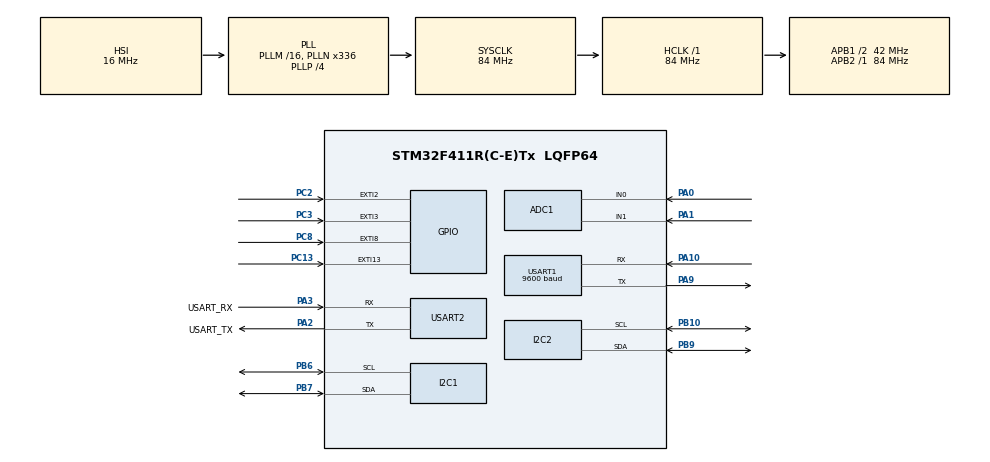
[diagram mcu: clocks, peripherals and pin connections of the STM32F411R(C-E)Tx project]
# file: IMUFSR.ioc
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ADC1.Channel-0\#ChannelRegularConversion=ADC_CHANNEL_0
ADC1.Channel-1\#ChannelRegularConversion=ADC_CHANNEL_1
ADC1.ContinuousConvMode=ENABLE
ADC1.EOCSelection=ADC_EOC_SEQ_CONV
ADC1.NbrOfConversion=2
ADC1.NbrOfConversionFlag=1
ADC1.Rank-0\#ChannelRegularConversion=1
ADC1.Rank-1\#ChannelRegularConversion=2
ADC1.SamplingTime-0\#ChannelRegularConversion=ADC_SAMPLETIME_3CYCLES
ADC1.SamplingTime-1\#ChannelRegularConversion=ADC_SAMPLETIME_3CYCLES
ADC1.ScanConvMode=ENABLE
ADC1.master=1
Mcu.Family=STM32F4
Mcu.Name=STM32F411R(C-E)Tx
Mcu.Package=LQFP64
NVIC.EXTI15_10_IRQn=true\:0\:0\:false\:false\:true\:true\:true\:true
NVIC.EXTI2_IRQn=true\:0\:0\:false\:false\:true\:true\:true\:true
NVIC.EXTI3_IRQn=true\:0\:0\:false\:false\:true\:true\:true\:true
NVIC.PriorityGroup=NVIC_PRIORITYGROUP_0
PA0-WKUP.Signal=ADCx_IN0
PA1.Signal=ADCx_IN1
PA10.Mode=Asynchronous
PA10.Signal=USART1_RX
PA13.GPIO_Label=TMS
PA13.Mode=Serial_Wire
PA13.Signal=SYS_JTMS-SWDIO
PA14.GPIO_Label=TCK
PA14.Mode=Serial_Wire
PA14.Signal=SYS_JTCK-SWCLK
PA2.GPIO_Label=USART_TX
PA2.Mode=Asynchronous
PA2.Signal=USART2_TX
PA3.GPIO_Label=USART_RX
PA3.Mode=Asynchronous
PA3.Signal=USART2_RX
PA9.Mode=Asynchronous
PA9.Signal=USART1_TX
PB10.Mode=I2C
PB10.Signal=I2C2_SCL
PB3.GPIO_Label=SWO
PB3.Signal=SYS_JTDO-SWO
PB6.Mode=I2C
PB6.Signal=I2C1_SCL
PB7.Mode=I2C
PB7.Signal=I2C1_SDA
PB9.Mode=I2C
PB9.Signal=I2C2_SDA
PC13-ANTI_TAMP.GPIO_ModeDefaultEXTI=GPIO_MODE_IT_RISING
PC13-ANTI_TAMP.GPIO_PuPd=GPIO_NOPULL
PC13-ANTI_TAMP.Signal=GPXTI13
PC14-OSC32_IN.Mode=LSE-External-Oscillator
PC14-OSC32_IN.Signal=RCC_OSC32_IN
PC15-OSC32_OUT.Mode=LSE-External-Oscillator
PC15-OSC32_OUT.Signal=RCC_OSC32_OUT
PC2.Signal=GPXTI2
PC3.Signal=GPXTI3
PC8.Signal=GPXTI8
PH0\ -\ OSC_IN.Mode=HSE-External-Clock-Source
PH0\ -\ OSC_IN.Signal=RCC_OSC_IN
PH1\ -\ OSC_OUT.Mode=HSE-External-Clock-Source
PH1\ -\ OSC_OUT.Signal=RCC_OSC_OUT
ProjectManager.HeapSize=0x200
ProjectManager.StackSize=0x400
ProjectManager.TargetToolchain=STM32CubeIDE
RCC.48MHZClocksFreq_Value=84000000
RCC.AHBFreq_Value=84000000
RCC.APB1CLKDivider=RCC_HCLK_DIV2
RCC.APB1Freq_Value=42000000
RCC.APB1TimFreq_Value=84000000
RCC.APB2Freq_Value=84000000
RCC.APB2TimFreq_Value=84000000
RCC.CortexFreq_Value=84000000
RCC.FLatency-AdvancedSettings=FLASH_LATENCY_2
RCC.HCLKFreq_Value=84000000
RCC.HSE_VALUE=8000000
RCC.HSI_VALUE=16000000
RCC.PLLN=336
RCC.PLLP=RCC_PLLP_DIV4
RCC.SYSCLKFreq_VALUE=84000000
RCC.SYSCLKSource=RCC_SYSCLKSOURCE_PLLCLK
RCC.VCOOutputFreq_Value=336000000
SH.ADCx_IN0.0=ADC1_IN0,IN0
SH.ADCx_IN1.0=ADC1_IN1,IN1
USART1.BaudRate=9600
USART1.VirtualMode=VM_ASYNC
USART2.VirtualMode=VM_ASYNC
board=NUCLEO-F411RE

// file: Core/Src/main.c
/* USER CODE BEGIN Header */
/**
  ******************************************************************************
  * @file           : main.c
  * @brief          : Main program body
  ******************************************************************************
  * @attention
  *
  * Copyright (c) 2024 STMicroelectronics.
  * All rights reserved.
  *
  * This software is licensed under terms that can be found in the LICENSE file
  * in the root directory of this software component.
  * If no LICENSE file comes with this software, it is provided AS-IS.
  *
  ******************************************************************************
  */
/* USER CODE END Header */
#include "main.h"

/* USER CODE BEGIN Includes */
#include "stdio.h"
#include "bno055.h"
#include "liquidcrystal_i2c.h"
/* USER CODE END Includes */

/* USER CODE BEGIN PD */
#define NUM_READINGS 3

#define LEFT_CLICK_UPPER_THRESHOLD 600
#define LEFT_CLICK_LOWER_THRESHOLD 200

#define RIGHT_CLICK_UPPER_THRESHOLD 600
#define RIGHT_CLICK_LOWER_THRESHOLD 200

#define DOUBLE_CLICK_FIRST_TIME_LIMIT 30
#define DOUBLE_CLICK_SECOND_TIME_LIMIT 200
/* USER CODE END PD */

ADC_HandleTypeDef hadc1;

I2C_HandleTypeDef hi2c1;
I2C_HandleTypeDef hi2c2;

UART_HandleTypeDef huart1;
UART_HandleTypeDef huart2;

/* USER CODE BEGIN PV */
ADC_ChannelConfTypeDef sConfig = {0};
bno055_t bno = (bno055_t){
      .i2c = &hi2c1, .addr = BNO_ADDR, .mode = BNO_MODE_IMU,
  };
bno055_vec4_t qua;

int16_t offsets[3] = {0};
uint8_t mode = 0;
//0 = normal
//1 = vertical
//2 = rotated

uint8_t DPI = 100;
bool on = true;

/* USER CODE END PV */

void SystemClock_Config(void);
static void MX_GPIO_Init(void);
static void MX_USART2_UART_Init(void);
static void MX_I2C1_Init(void);
static void MX_USART1_UART_Init(void);
static void MX_ADC1_Init(void);
static void MX_I2C2_Init(void);

/* USER CODE BEGIN 0 */
void ADC_select_CH0(void) {
  sConfig.Channel = ADC_CHANNEL_0;
  sConfig.Rank = 1;
  if (HAL_ADC_ConfigChannel(&hadc1, &sConfig) != HAL_OK)
  {
	Error_Handler();
  }
}

void ADC_select_CH1(void) {
  sConfig.Channel = ADC_CHANNEL_1;
  sConfig.Rank = 1;
  if (HAL_ADC_ConfigChannel(&hadc1, &sConfig) != HAL_OK)
  {
	Error_Handler();
  }
}

/* USER CODE END 0 */

int main(void)
{

  /* MCU Configuration--------------------------------------------------------*/

  /* Reset of all peripherals, Initializes the Flash interface and the Systick. */
  HAL_Init();

  /* Configure the system clock */
  SystemClock_Config();

  /* Initialize all configured peripherals */
  MX_GPIO_Init();
  MX_USART2_UART_Init();
  MX_I2C1_Init();
  MX_USART1_UART_Init();
  MX_ADC1_Init();
  MX_I2C2_Init();
  /* USER CODE BEGIN 2 */
  /* Initialize */
  HD44780_Init(2);
  HD44780_SetBacklight(0x8);

  /* Clear buffer */
  HD44780_Clear();

  /* Hide characters */
  HD44780_SetCursor(0,0);
  HD44780_PrintStr("MODE    ON   DPI");

  char base[16] = "Normal       ";
  snprintf(&base[13], 4, "%03d", DPI);

  HD44780_SetCursor(0, 1);
  HD44780_PrintStr(base);

     /* Blink cursor */
//     HD44780_Blink();

  HAL_ADC_Start_IT(&hadc1);//start conversion

  int readingsL[NUM_READINGS];  // Array to store FSR readings
  int readIndexL = 0;           // Index of the current reading
  int totalL = 0;               // Total of the readings
  int averageL = 0;             // The moving average

  int fsrValueL = 0; // Variable to store FSR value
  bool already_countedL = false;

  int readingsR[NUM_READINGS];  // Array to store FSR readings
  int readIndexR = 0;           // Index of the current reading
  int totalR = 0;               // Total of the readings
  int averageR = 0;             // The moving average

  int fsrValueR = 0; // Variable to store FSR value
  bool already_countedR = false;

  for (int i = 0; i < NUM_READINGS; i++) {
      readingsL[i] = 0;
      readingsR[i] = 0;
  }
  int clicksL = 0;
  int clicksR = 0;

  //DOUBLE CLICK LOGIC
  int onCount = 0;
  int onCountSecond = 0;
  bool incOnCount = false;
  bool incOnCountSecond = false;
  bool firstDoubleClick = false;
  bool secondDoubleClick = false;
  bool alreadyCountedDoubleClick = false;

  bool delayClickLeft = false;
  uint8_t delayCountLeft = 0;

  bool delayClickRight = false;
  uint8_t delayCountRight = 0;

  bool leftClick = false;
  bool leftPressed = false;
  bool rightClick = false;
  bool rightPressed = false;

  bool possibleDoubleHold = false;
  uint8_t doubleHoldCounter = 0;
  bool doubleHold = false;

  bno055_init(&bno);

  int8_t data[4] = {0,0,0,0}; // Example integers to send
  uint8_t txBuffer[4];              // Buffer to store the bytes to send

  bno.quaternion(&bno, &qua);
  printf("CALIBRATED");

  offsets[0] = qua.w * 100;
  offsets[1] = qua.x * 100;
  offsets[2] = qua.y * 100;

  // Encode integers into the transmission buffer
  uint32_t first_click_time = 0;
  uint32_t second_click_time = 0;

  /* USER CODE END 2 */

  /* Infinite loop */
  /* USER CODE BEGIN WHILE */
  while (1)
  {
	  uint32_t start_time = HAL_GetTick();
	  bno.quaternion(&bno, &qua);

	  //Delay logic for double click

	  leftClick = ((delayCountLeft > 2 && delayClickLeft)) ? true : false;

	  rightClick = (delayCountRight > 2 && delayClickRight) ? true : false;

	  if (doubleHold) {
		  rightClick = true;
		  leftClick = true;
	  }

	  data[0] = -1 * (qua.x * 100 - offsets[1]); //(x_val * -1) / 3
	  data[1] = (qua.y * 100 - offsets[2]); //(y_val) / 3
	  data[2] = (leftClick);
	  data[3] = (rightClick);
//	  data[4] = DPI;

//	  if (rightClick) {
//		rightClick = false;
//	  }

	  memcpy(&txBuffer[0], &data[0], sizeof(int8_t));
	  memcpy(&txBuffer[1], &data[1], sizeof(int8_t));
	  memcpy(&txBuffer[2], &data[2], sizeof(int8_t));
	  memcpy(&txBuffer[3], &data[3], sizeof(int8_t));
//	  memcpy(txBuffer, data, sizeof(data));
//	  memcpy(&txBuffer[4], &data[4], sizeof(int8_t));

	  printf("x: %d, y: %d, L: %d, R: %d\n\r", data[0],data[1],data[2],data[3]);

	  if (on) {
		if (HAL_UART_Transmit(&huart1, txBuffer, sizeof(txBuffer), HAL_MAX_DELAY) != HAL_OK) {

			printf("UART Transmission Error: %d\n\r", HAL_UART_GetError(&huart1));
		}
//		HAL_Delay(30);s
	  }

	  	totalL = totalL - readingsL[readIndexL];
	  	totalR = totalR - readingsR[readIndexR];

	  	//ADC LOGIC-------------------------------------------------------------

	  	ADC_select_CH0();
	  	HAL_ADC_Start(&hadc1);//start conversion
	  	HAL_ADC_PollForConversion(&hadc1, 10000);
	  	fsrValueL = HAL_ADC_GetValue(&hadc1);
	  	HAL_ADC_Stop(&hadc1);

	  	ADC_select_CH1();
	  	HAL_ADC_Start(&hadc1);//start conversion
	  	HAL_ADC_PollForConversion(&hadc1, 10000);
	  	fsrValueR = HAL_ADC_GetValue(&hadc1);
	  	HAL_ADC_Stop(&hadc1);

	  	//-----------------------------------------------------------------------

	  	//FILTER LOGIC-------------------------------------------------------------

	  	// Add the new reading to the total
	  	totalL = totalL + fsrValueL;
	  	totalR = totalR + fsrValueR;

	  	// Store the new reading in the array
	  	readingsL[readIndexL] = fsrValueL;
	  	readingsR[readIndexR] = fsrValueR;

	  	// Advance to the next position in the array
	  	readIndexL = (readIndexL + 1) % NUM_READINGS;
	  	readIndexR = (readIndexR + 1) % NUM_READINGS;

	  	// Calculate the moving average
	  	averageL = totalL / NUM_READINGS;
	  	averageR = totalR / NUM_READINGS;

	  	//-----------------------------------------------------------------------

	      //CLICK LOGIC-------------------------------------------------------------

	      //LEFT SIDE
	  	if (averageL > LEFT_CLICK_UPPER_THRESHOLD && !already_countedL) {
	  	    ++clicksL;

	  	    incOnCount = true; //Begin double click logic

	  	    printf("Click Left: %d\n\r", clicksL);
	  	    leftClick = true;
	  	    delayClickLeft = true;
	  	    leftPressed = true;

	  	    already_countedL = true;
	  	}
	  	else if (averageL < LEFT_CLICK_LOWER_THRESHOLD) {
	  	    already_countedL = false;
		    if (leftClick) {
			    leftClick = false;
		    }
		    leftPressed = false;
	  	}

	  	//RIGHT SIDE
	  	if (averageR > RIGHT_CLICK_UPPER_THRESHOLD && !already_countedR) {
	  	    ++clicksR;

	  	    printf("Click RIGHT: %d\n\r", clicksR);

	  	    rightClick = true;
	  	    delayClickRight = true;
	  	    rightPressed = true;

	  	    already_countedR = true;
	  	}
	  	else if (averageR < RIGHT_CLICK_LOWER_THRESHOLD) {
	  	    already_countedR = false;
	  	    rightClick = false;
	  	    rightPressed = false;

	  	}

	  	//-----------------------------------------------------------------------
	  	if (possibleDoubleHold && rightPressed && leftPressed) {
	  		doubleHoldCounter += HAL_GetTick() - start_time;
	  	}
	  	if (!rightPressed || !leftPressed) {
	  		possibleDoubleHold = false;
	  		doubleHold = false;
	  		doubleHoldCounter = 0;
	  	}

	  	if (doubleHoldCounter > 500) {
	  		doubleHold = true;
	  	}

	  	if (delayClickLeft) {
			++delayCountLeft;
		}

		if (delayCountLeft > 3) {
			if (!leftPressed) {
				delayClickLeft = false;
				delayCountLeft = 0;
			}
			else {
				delayCountLeft = 3;
			}

		}

		if (delayCountRight > 3) {
			if (!rightPressed) {
				delayClickRight = false;
				delayCountRight = 0;
			}
			else {
				delayCountRight = 3;
			}

		}

		if (delayClickRight) {
			++delayCountRight;
		}

		if (delayCountRight > 3) {
			delayClickRight = false;
			delayCountRight = 0;
		}

	  	if (incOnCount) {
	  		++onCount;
	  		first_click_time += HAL_GetTick() - start_time;

	  	}
	  	if (incOnCountSecond) {
	  		++onCountSecond;
	  		second_click_time += HAL_GetTick() - start_time;
	  	}

	  	if (first_click_time > 0 && second_click_time > 0 && firstDoubleClick) {
	  		if (delayCountRight > 0) {//register right click
	  			secondDoubleClick = true;
	  		}

	  	}

	  	if (first_click_time > 0) {
	  		if (delayCountRight > 0) {//register right click
	  			firstDoubleClick = true;
	  			HAL_GPIO_WritePin(GPIOC, GPIO_PIN_11, 1);
	  		}
	  	}

	  	if (firstDoubleClick || secondDoubleClick) {
	  		leftClick = false;
	  		rightClick = false;
	  		delayClickLeft = false;
	  		delayCountLeft = 0;
	  		delayClickRight = false;
	  		delayCountRight = 0;

	  		possibleDoubleHold = true;
	  	}

	  	if (secondDoubleClick && !alreadyCountedDoubleClick) {
	  		HAL_GPIO_WritePin(GPIOC, GPIO_PIN_10, 1);
	  		alreadyCountedDoubleClick = true;

	  		on = !on;
	  		updateScreen(on, DPI, mode);

	  	}

	  	if (first_click_time > DOUBLE_CLICK_FIRST_TIME_LIMIT) {
	  		incOnCount = false;
	  		incOnCountSecond = true;
	  		first_click_time = 0;
	  		HAL_GPIO_WritePin(GPIOC, GPIO_PIN_11, 0);
	  	}
	  	if (second_click_time >= DOUBLE_CLICK_SECOND_TIME_LIMIT) {
	  		incOnCountSecond = false;
	  		second_click_time = 0;
	  		firstDoubleClick = false;
	  		secondDoubleClick = false;
	  		alreadyCountedDoubleClick = false;
	  		HAL_GPIO_WritePin(GPIOC, GPIO_PIN_10, 0);
	  	}

    /* USER CODE END WHILE */

  }
}

void SystemClock_Config(void)
{
  RCC_OscInitTypeDef RCC_OscInitStruct = {0};
  RCC_ClkInitTypeDef RCC_ClkInitStruct = {0};

  /** Configure the main internal regulator output voltage
  */
  __HAL_RCC_PWR_CLK_ENABLE();
  __HAL_PWR_VOLTAGESCALING_CONFIG(PWR_REGULATOR_VOLTAGE_SCALE1);

  /** Initializes the RCC Oscillators according to the specified parameters
  * in the RCC_OscInitTypeDef structure.
  */
  RCC_OscInitStruct.OscillatorType = RCC_OSCILLATORTYPE_HSI;
  RCC_OscInitStruct.HSIState = RCC_HSI_ON;
  RCC_OscInitStruct.HSICalibrationValue = RCC_HSICALIBRATION_DEFAULT;
  RCC_OscInitStruct.PLL.PLLState = RCC_PLL_ON;
  RCC_OscInitStruct.PLL.PLLSource = RCC_PLLSOURCE_HSI;
  RCC_OscInitStruct.PLL.PLLM = 16;
  RCC_OscInitStruct.PLL.PLLN = 336;
  RCC_OscInitStruct.PLL.PLLP = RCC_PLLP_DIV4;
  RCC_OscInitStruct.PLL.PLLQ = 4;
  if (HAL_RCC_OscConfig(&RCC_OscInitStruct) != HAL_OK)
  {
    Error_Handler();
  }

  /** Initializes the CPU, AHB and APB buses clocks
  */
  RCC_ClkInitStruct.ClockType = RCC_CLOCKTYPE_HCLK|RCC_CLOCKTYPE_SYSCLK
                              |RCC_CLOCKTYPE_PCLK1|RCC_CLOCKTYPE_PCLK2;
  RCC_ClkInitStruct.SYSCLKSource = RCC_SYSCLKSOURCE_PLLCLK;
  RCC_ClkInitStruct.AHBCLKDivider = RCC_SYSCLK_DIV1;
  RCC_ClkInitStruct.APB1CLKDivider = RCC_HCLK_DIV2;
  RCC_ClkInitStruct.APB2CLKDivider = RCC_HCLK_DIV1;

  if (HAL_RCC_ClockConfig(&RCC_ClkInitStruct, FLASH_LATENCY_2) != HAL_OK)
  {
    Error_Handler();
  }
}

static void MX_ADC1_Init(void)
{

  ADC_ChannelConfTypeDef sConfig = {0};

  /** Configure the global features of the ADC (Clock, Resolution, Data Alignment and number of conversion)
  */
  hadc1.Instance = ADC1;
  hadc1.Init.ClockPrescaler = ADC_CLOCK_SYNC_PCLK_DIV4;
  hadc1.Init.Resolution = ADC_RESOLUTION_12B;
  hadc1.Init.ScanConvMode = ENABLE;
  hadc1.Init.ContinuousConvMode = ENABLE;
  hadc1.Init.DiscontinuousConvMode = DISABLE;
  hadc1.Init.ExternalTrigConvEdge = ADC_EXTERNALTRIGCONVEDGE_NONE;
  hadc1.Init.ExternalTrigConv = ADC_SOFTWARE_START;
  hadc1.Init.DataAlign = ADC_DATAALIGN_RIGHT;
  hadc1.Init.NbrOfConversion = 2;
  hadc1.Init.DMAContinuousRequests = DISABLE;
  hadc1.Init.EOCSelection = ADC_EOC_SEQ_CONV;
  if (HAL_ADC_Init(&hadc1) != HAL_OK)
  {
    Error_Handler();
  }

  /** Configure for the selected ADC regular channel its corresponding rank in the sequencer and its sample time.
  */
  sConfig.Channel = ADC_CHANNEL_0;
  sConfig.Rank = 1;
  sConfig.SamplingTime = ADC_SAMPLETIME_3CYCLES;
  if (HAL_ADC_ConfigChannel(&hadc1, &sConfig) != HAL_OK)
  {
    Error_Handler();
  }

  /** Configure for the selected ADC regular channel its corresponding rank in the sequencer and its sample time.
  */
  sConfig.Channel = ADC_CHANNEL_1;
  sConfig.Rank = 2;
  if (HAL_ADC_ConfigChannel(&hadc1, &sConfig) != HAL_OK)
  {
    Error_Handler();
  }

}

static void MX_I2C1_Init(void)
{

  hi2c1.Instance = I2C1;
  hi2c1.Init.ClockSpeed = 100000;
  hi2c1.Init.DutyCycle = I2C_DUTYCYCLE_2;
  hi2c1.Init.OwnAddress1 = 0;
  hi2c1.Init.AddressingMode = I2C_ADDRESSINGMODE_7BIT;
  hi2c1.Init.DualAddressMode = I2C_DUALADDRESS_DISABLE;
  hi2c1.Init.OwnAddress2 = 0;
  hi2c1.Init.GeneralCallMode = I2C_GENERALCALL_DISABLE;
  hi2c1.Init.NoStretchMode = I2C_NOSTRETCH_DISABLE;
  if (HAL_I2C_Init(&hi2c1) != HAL_OK)
  {
    Error_Handler();
  }

}

static void MX_I2C2_Init(void)
{

  hi2c2.Instance = I2C2;
  hi2c2.Init.ClockSpeed = 100000;
  hi2c2.Init.DutyCycle = I2C_DUTYCYCLE_2;
  hi2c2.Init.OwnAddress1 = 0;
  hi2c2.Init.AddressingMode = I2C_ADDRESSINGMODE_7BIT;
  hi2c2.Init.DualAddressMode = I2C_DUALADDRESS_DISABLE;
  hi2c2.Init.OwnAddress2 = 0;
  hi2c2.Init.GeneralCallMode = I2C_GENERALCALL_DISABLE;
  hi2c2.Init.NoStretchMode = I2C_NOSTRETCH_DISABLE;
  if (HAL_I2C_Init(&hi2c2) != HAL_OK)
  {
    Error_Handler();
  }

}

static void MX_USART1_UART_Init(void)
{

  huart1.Instance = USART1;
  huart1.Init.BaudRate = 9600;
  huart1.Init.WordLength = UART_WORDLENGTH_8B;
  huart1.Init.StopBits = UART_STOPBITS_1;
  huart1.Init.Parity = UART_PARITY_NONE;
  huart1.Init.Mode = UART_MODE_TX_RX;
  huart1.Init.HwFlowCtl = UART_HWCONTROL_NONE;
  huart1.Init.OverSampling = UART_OVERSAMPLING_16;
  if (HAL_UART_Init(&huart1) != HAL_OK)
  {
    Error_Handler();
  }

}

static void MX_USART2_UART_Init(void)
{

  huart2.Instance = USART2;
  huart2.Init.BaudRate = 115200;
  huart2.Init.WordLength = UART_WORDLENGTH_8B;
  huart2.Init.StopBits = UART_STOPBITS_1;
  huart2.Init.Parity = UART_PARITY_NONE;
  huart2.Init.Mode = UART_MODE_TX_RX;
  huart2.Init.HwFlowCtl = UART_HWCONTROL_NONE;
  huart2.Init.OverSampling = UART_OVERSAMPLING_16;
  if (HAL_UART_Init(&huart2) != HAL_OK)
  {
    Error_Handler();
  }

}

static void MX_GPIO_Init(void)
{
  GPIO_InitTypeDef GPIO_InitStruct = {0};

  /* GPIO Ports Clock Enable */
  __HAL_RCC_GPIOC_CLK_ENABLE();
  __HAL_RCC_GPIOH_CLK_ENABLE();
  __HAL_RCC_GPIOA_CLK_ENABLE();
  __HAL_RCC_GPIOB_CLK_ENABLE();

  /*Configure GPIO pins : PC13 PC2 PC3 PC8 */
  GPIO_InitStruct.Pin = GPIO_PIN_13|GPIO_PIN_2|GPIO_PIN_3|GPIO_PIN_8;
  GPIO_InitStruct.Mode = GPIO_MODE_IT_RISING;
  GPIO_InitStruct.Pull = GPIO_NOPULL;
  HAL_GPIO_Init(GPIOC, &GPIO_InitStruct);

  /* EXTI interrupt init*/
  HAL_NVIC_SetPriority(EXTI2_IRQn, 0, 0);
  HAL_NVIC_EnableIRQ(EXTI2_IRQn);

  HAL_NVIC_SetPriority(EXTI3_IRQn, 0, 0);
  HAL_NVIC_EnableIRQ(EXTI3_IRQn);

  HAL_NVIC_SetPriority(EXTI15_10_IRQn, 0, 0);
  HAL_NVIC_EnableIRQ(EXTI15_10_IRQn);

}

/* USER CODE BEGIN 4 */
#ifdef __GNUC__
#define PUTCHAR_PROTOTYPE int __io_putchar(int ch)
#else
  #define PUTCHAR_PROTOTYPE int fputc(int ch, FILE *f)
#endif /* __GNUC__ */
PUTCHAR_PROTOTYPE
{
  HAL_UART_Transmit(&huart2, (uint8_t *)&ch, 1, 0xFFFF);
  return ch;
}
/* USER CODE END 4 */

void Error_Handler(void)
{
  __disable_irq();
  while (1)
  {
  }
}
